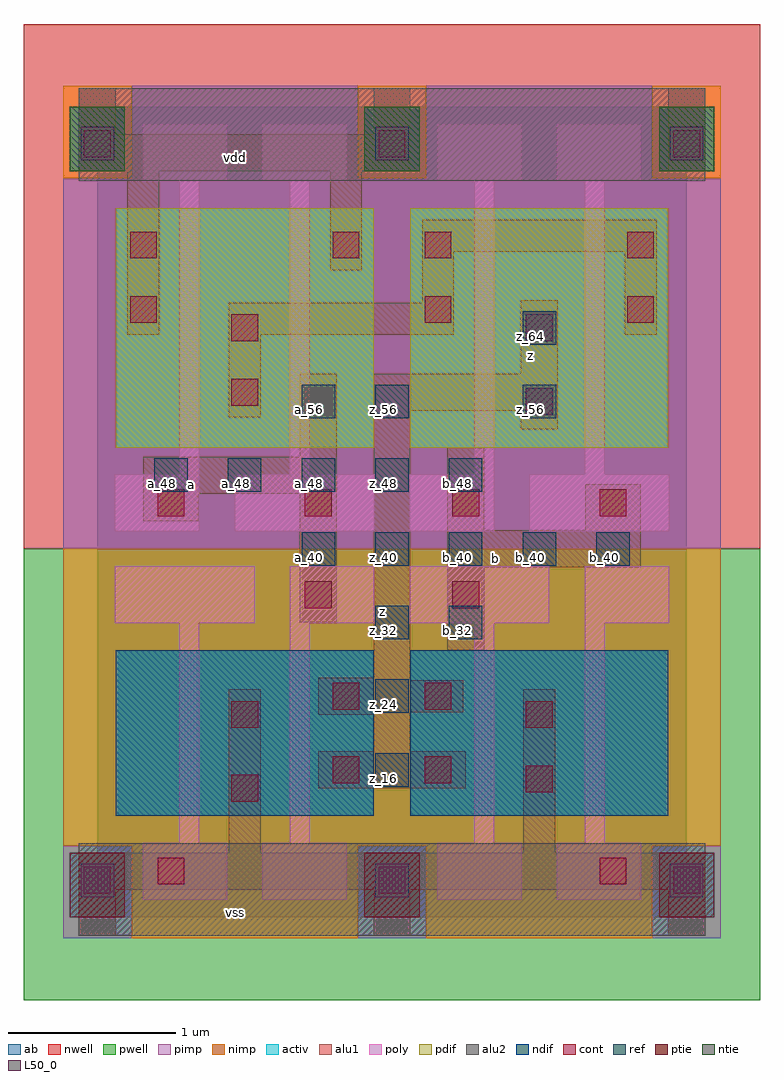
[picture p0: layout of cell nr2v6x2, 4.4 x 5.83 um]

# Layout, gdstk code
import gdstk
lib = gdstk.Library(unit=1e-6, precision=2.5e-09)
def R(c, l, rs):  # rectangles x0, y0, x1, y1
    for r in rs: c.add(gdstk.rectangle(r[:2], r[2:], *l))
def A(c, l, x, y, w, h, nx, ny, dx, dy):  # array of equal rectangles
    R(c, l, [(x+i*dx, y+j*dy, x+i*dx+w, y+j*dy+h) for i in range(nx) for j in range(ny)])
ndif = (3, 0)
pdif = (4, 0)
ntie = (5, 0)
ptie = (6, 0)
ref = (24, 0)
cont = (25, 0)
pwell = (41, 0)
nwell = (42, 0)
activ = (43, 0)
pimp = (44, 0)
nimp = (45, 0)
poly = (46, 0)
alu1 = (49, 0)
L50_0 = (50, 0)
alu2 = (51, 0)
ab = (63, 0)

nr2v6x2 = lib.new_cell('nr2v6x2')
R(nr2v6x2, ndif, [(0.11,0.605,1.65,1.595), (1.87,0.605,3.41,1.595)])
R(nr2v6x2, pdif, [(0.11,2.805,1.65,4.235), (1.87,2.805,3.41,4.235)])
A(nr2v6x2, ntie, -0.165, 4.455, 0.33, 0.385, 3, 1, 1.76, 0)
A(nr2v6x2, ptie, -0.165, 0, 0.33, 0.385, 3, 1, 1.76, 0)
A(nr2v6x2, ref, 1.66, 0.78, 0.2, 0.2, 1, 3, 0, 0.44)
A(nr2v6x2, ref, 1.22, 2.1, 0.2, 0.2, 5, 1, 0.44, 0)
A(nr2v6x2, ref, 0.34, 2.54, 0.2, 0.2, 5, 1, 0.44, 0)
R(nr2v6x2, ref, [(2.1,1.66,2.3,1.86), (1.22,2.98,1.42,3.18), (1.66,2.98,1.86,3.18), (2.54,2.98,2.74,3.18), (2.54,3.42,2.74,3.62)])
A(nr2v6x2, cont, -0.08, 0.14, 0.16, 0.16, 3, 2, 1.76, 4.4)
A(nr2v6x2, cont, 0.36, 2.395, 0.16, 0.16, 4, 1, 0.88, 0)
R(nr2v6x2, cont, [(0.36,0.195,0.52,0.355), (3,0.195,3.16,0.355), (0.8,0.69,0.96,0.85), (2.56,0.745,2.72,0.905), (1.405,0.8,1.565,0.96), (1.955,0.8,2.115,0.96), (0.8,1.13,0.96,1.29), (2.56,1.13,2.72,1.29), (1.405,1.24,1.565,1.4), (1.955,1.24,2.115,1.4), (1.24,1.845,1.4,2.005), (2.12,1.845,2.28,2.005), (2.56,3,2.72,3.16), (0.8,3.055,0.96,3.215), (0.8,3.44,0.96,3.6), (2.56,3.44,2.72,3.6), (0.195,3.55,0.355,3.71), (1.955,3.55,2.115,3.71), (3.165,3.55,3.325,3.71), (0.195,3.935,0.355,4.095), (1.405,3.935,1.565,4.095), (1.955,3.935,2.115,4.095), (3.165,3.935,3.325,4.095)])
R(nr2v6x2, pwell, [(-0.44,-0.495,3.96,2.2)])
R(nr2v6x2, nwell, [(-0.44,2.2,3.96,5.335)])
A(nr2v6x2, activ, -0.165, 0, 0.33, 0.385, 3, 2, 1.76, 4.455)
R(nr2v6x2, activ, [(0.11,0.605,1.65,1.595), (1.87,0.605,3.41,1.595), (0.11,2.805,1.65,4.235), (1.87,2.805,3.41,4.235)])
A(nr2v6x2, pimp, -0.205, -0.125, 0.41, 0.55, 3, 1, 1.76, 0)
R(nr2v6x2, pimp, [(-0.205,2.2,3.725,4.415), (0.205,4.415,1.555,4.965), (1.965,4.415,3.315,4.965)])
A(nr2v6x2, nimp, -0.205, 4.415, 0.41, 0.55, 3, 1, 1.76, 0)
R(nr2v6x2, nimp, [(0.205,-0.125,1.555,0.425), (1.965,-0.125,3.315,0.425), (-0.205,0.425,3.725,2.2)])
R(nr2v6x2, poly, [(0.27,0.105,0.775,0.445), (0.985,0.105,1.49,0.445), (2.03,0.105,2.535,0.445), (2.745,0.105,3.25,0.445), (0.49,0.445,0.61,1.755), (1.15,0.445,1.27,1.755), (2.25,0.445,2.37,1.755), (2.91,0.445,3.03,1.755), (0.105,1.755,0.94,2.095), (1.15,1.755,1.655,2.095), (1.865,1.755,2.7,2.095), (2.91,1.755,3.415,2.095), (0.105,2.305,0.61,2.645), (0.82,2.305,1.655,2.645), (1.865,2.305,2.37,2.645), (2.58,2.305,3.415,2.645), (0.49,2.645,0.61,4.395), (1.15,2.645,1.27,4.395), (2.25,2.645,2.37,4.395), (2.91,2.645,3.03,4.395), (0.27,4.395,0.775,4.735), (0.985,4.395,1.49,4.735), (2.03,4.395,2.535,4.735), (2.745,4.395,3.25,4.735)])
A(nr2v6x2, alu1, -0.11, -0.11, 0.22, 0.275, 3, 1, 1.76, 0)
R(nr2v6x2, alu1, [(-0.11,0.165,3.63,0.385), (0.785,0.385,0.975,1.36), (2.545,0.385,2.735,1.36), (1.32,0.77,2.2,0.99), (1.65,0.99,1.87,1.21), (1.32,1.21,1.87,1.225), (1.32,1.225,2.185,1.415), (1.32,1.415,1.87,1.43), (1.65,1.43,1.87,3.025), (2.09,1.595,2.31,2.09), (1.21,1.76,1.43,2.53), (2.09,2.09,3.245,2.31), (2.09,2.31,2.31,2.805), (2.915,2.31,3.245,2.585), (0.275,2.365,0.605,2.53), (0.275,2.53,1.43,2.75), (1.21,2.75,1.43,3.245), (2.53,2.915,2.75,3.025), (0.785,2.985,0.975,3.48), (1.65,3.025,2.75,3.245), (2.53,3.245,2.75,3.685), (0.18,3.48,0.37,4.455), (0.785,3.48,2.13,3.67), (3.15,3.48,3.34,3.975), (1.94,3.67,2.13,3.975), (1.39,3.865,1.58,4.455), (1.94,3.975,3.34,4.165), (-0.11,4.455,1.87,4.675), (3.41,4.455,3.63,4.95), (-0.11,4.675,0.11,4.95), (1.65,4.675,1.87,4.95)])
A(nr2v6x2, L50_0, -0.1, 0.12, 0.2, 0.2, 3, 2, 1.76, 4.4)
R(nr2v6x2, alu2, [(-0.11,-0.11,3.63,0.44), (-0.11,4.4,3.63,4.95)])
R(nr2v6x2, ab, [(0,0,3.52,4.84)])
nr2v6x2.add(gdstk.Label('b', (2.3775,2.145), layer=49, texttype=0))
nr2v6x2.add(gdstk.Label('z', (1.705,1.8275), layer=49, texttype=0))
nr2v6x2.add(gdstk.Label('a', (0.5625,2.585), layer=49, texttype=0))
nr2v6x2.add(gdstk.Label('z', (2.585,3.355), layer=49, texttype=0))
nr2v6x2.add(gdstk.Label('vss', (0.825,0.0275), layer=51, texttype=0))
nr2v6x2.add(gdstk.Label('vdd', (0.825,4.5375), layer=51, texttype=0))
nr2v6x2.add(gdstk.Label('b_40', (3.03,2.15), layer=24, texttype=0))
nr2v6x2.add(gdstk.Label('b_40', (2.59,2.15), layer=24, texttype=0))
nr2v6x2.add(gdstk.Label('a_48', (0.39,2.59), layer=24, texttype=0))
nr2v6x2.add(gdstk.Label('a_48', (0.83,2.59), layer=24, texttype=0))
nr2v6x2.add(gdstk.Label('a_56', (1.27,3.03), layer=24, texttype=0))
nr2v6x2.add(gdstk.Label('z_56', (2.59,3.03), layer=24, texttype=0))
nr2v6x2.add(gdstk.Label('a_48', (1.27,2.59), layer=24, texttype=0))
nr2v6x2.add(gdstk.Label('b_32', (2.15,1.71), layer=24, texttype=0))
nr2v6x2.add(gdstk.Label('b_48', (2.15,2.59), layer=24, texttype=0))
nr2v6x2.add(gdstk.Label('z_56', (1.71,3.03), layer=24, texttype=0))
nr2v6x2.add(gdstk.Label('z_16', (1.71,0.83), layer=24, texttype=0))
nr2v6x2.add(gdstk.Label('z_40', (1.71,2.15), layer=24, texttype=0))
nr2v6x2.add(gdstk.Label('z_32', (1.71,1.71), layer=24, texttype=0))
nr2v6x2.add(gdstk.Label('z_48', (1.71,2.59), layer=24, texttype=0))
nr2v6x2.add(gdstk.Label('a_40', (1.27,2.15), layer=24, texttype=0))
nr2v6x2.add(gdstk.Label('z_64', (2.59,3.47), layer=24, texttype=0))
nr2v6x2.add(gdstk.Label('z_24', (1.71,1.27), layer=24, texttype=0))
nr2v6x2.add(gdstk.Label('b_40', (2.15,2.15), layer=24, texttype=0))

lib.write_gds('nr2v6x2.gds')
